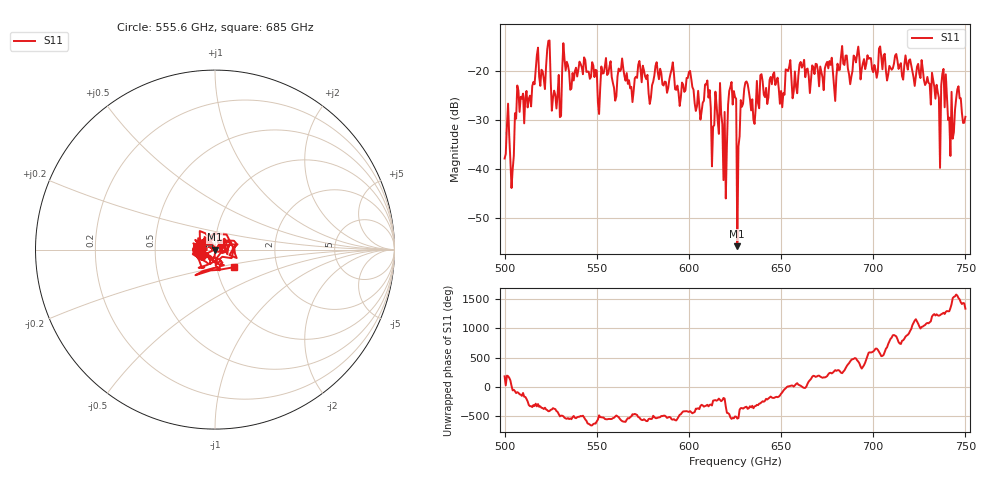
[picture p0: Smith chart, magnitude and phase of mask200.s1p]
!Created with skrf (http://scikit-rf.org).
# GHz S MA R 50.0
!freq magS11 angS11
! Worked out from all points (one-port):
!   401 points, 500 GHz to 750 GHz, reference 50 ohm
!   lowest |S11| = -55.8 dB at 626.2 GHz (marker M1), VSWR 1.00, Z = 49.8 + j0.0223 ohm
!   |S11| at or under -10 dB: start of sweep to end of sweep
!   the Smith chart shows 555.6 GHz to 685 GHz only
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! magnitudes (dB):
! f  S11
! 500 GHz  -37.9
! 501.9 GHz  -26.7
! 503.8 GHz  -43.9
! 506.9 GHz  -23.0
! 516.9 GHz  -19.6
! 523.8 GHz  -13.9
! 526.9 GHz  -24.0
! 531.2 GHz  -19.7
! 562.5 GHz  -20.1
! 593.8 GHz  -23.0
! 610 GHz  -22.0
! 612.5 GHz  -39.5
! 618.1 GHz  -30.9
! 619.4 GHz  -28.4
! 623.1 GHz  -22.3
! 624.4 GHz  -24.1
! 625 GHz  -25.3
! 626.2 GHz  -55.8
! 631.2 GHz  -22.2
! 635 GHz  -30.1
! 656.2 GHz  -25.6
! 687.5 GHz  -22.7
! 718.8 GHz  -19.7
! 735 GHz  -24.3
! 738.1 GHz  -19.6
! 742.5 GHz  -24.3
! 746.2 GHz  -23.1
! 750 GHz  -29.4
